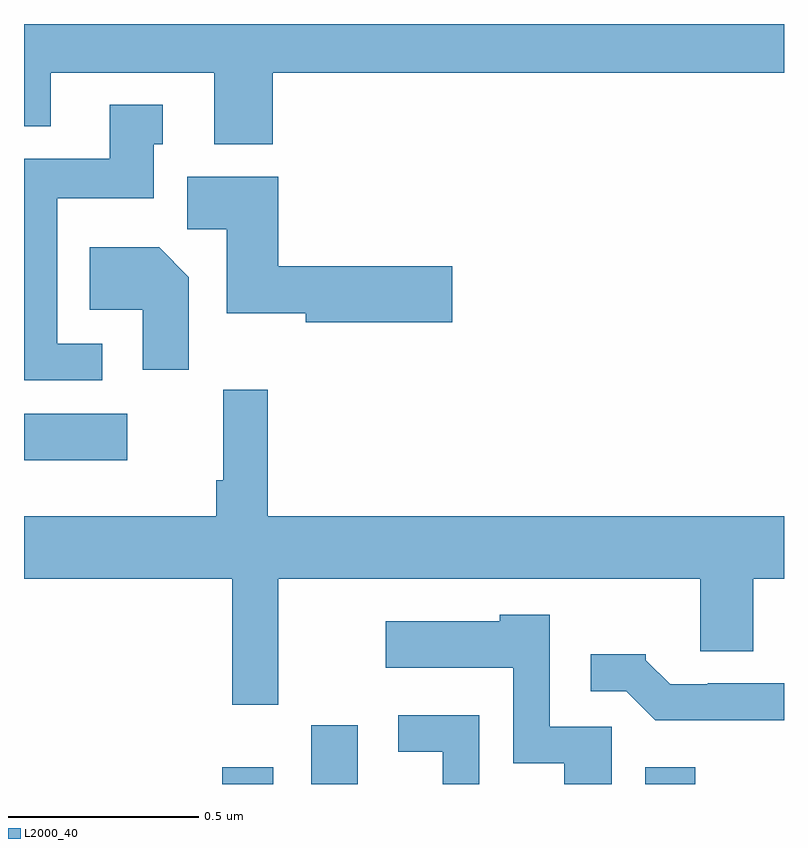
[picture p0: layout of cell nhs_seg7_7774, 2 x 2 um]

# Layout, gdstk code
import gdstk
lib = gdstk.Library(unit=1e-6, precision=1e-09)
def R(c, l, rs):  # rectangles x0, y0, x1, y1
    for r in rs: c.add(gdstk.rectangle(r[:2], r[2:], *l))
def P(c, l, *ps):  # polygons
    for p in ps: c.add(gdstk.Polygon(p, *l))
L2000_40 = (2000, 40)

nhs_seg7_7774 = lib.new_cell('nhs_seg7_7774')
R(nhs_seg7_7774, L2000_40, [(215.522,1076,215.656,1076.044), (215.756,1076,215.878,1076.155), (216.635,1076,216.766,1076.044), (215,1076.852,215.272,1076.974)])
P(nhs_seg7_7774, L2000_40, [(215.654,1077.872),(217,1077.872),(217,1078),(215,1078),(215,1077.731),(215.071,1077.731),(215.071,1077.872),(215.501,1077.872),(215.501,1077.683),(215.654,1077.683)],
  [(215.206,1077.159),(215.088,1077.159),(215.088,1077.542),(215.341,1077.542),(215.341,1077.684),(215.365,1077.684),(215.365,1077.787),(215.225,1077.787),(215.225,1077.646),(215,1077.646),(215,1077.063),(215.206,1077.063)],
  [(216.127,1077.362),(215.669,1077.362),(215.669,1077.598),(215.429,1077.598),(215.429,1077.46),(215.534,1077.46),(215.534,1077.239),(215.742,1077.239),(215.742,1077.215),(216.127,1077.215)],
  [(215.434,1077.334),(215.356,1077.412),(215.173,1077.412),(215.173,1077.248),(215.312,1077.248),(215.312,1077.09),(215.434,1077.09)],
  [(215.669,1076.54),(216.779,1076.54),(216.779,1076.35),(216.919,1076.35),(216.919,1076.54),(217,1076.54),(217,1076.704),(215.642,1076.704),(215.642,1077.037),(215.524,1077.037),(215.524,1076.8),(215.506,1076.8),(215.506,1076.704),(215,1076.704),(215,1076.54),(215.548,1076.54),(215.548,1076.208),(215.669,1076.208)],
  [(216.547,1076.151),(216.384,1076.151),(216.384,1076.446),(216.252,1076.446),(216.252,1076.428),(215.952,1076.428),(215.952,1076.306),(216.288,1076.306),(216.288,1076.054),(216.422,1076.054),(216.422,1076),(216.547,1076)],
  [(217,1076.265),(216.799,1076.265),(216.799,1076.262),(216.7,1076.262),(216.636,1076.326),(216.636,1076.341),(216.492,1076.341),(216.492,1076.244),(216.585,1076.244),(216.661,1076.168),(217,1076.168)],
  [(216.198,1076.181),(215.985,1076.181),(215.985,1076.085),(216.102,1076.085),(216.102,1076),(216.198,1076)])

lib.write_gds('nhs_seg7_7774.gds')
